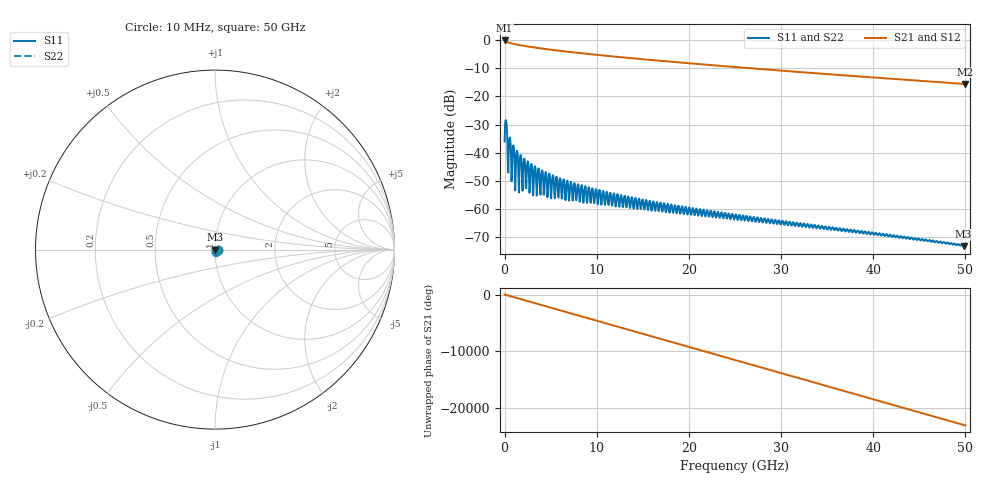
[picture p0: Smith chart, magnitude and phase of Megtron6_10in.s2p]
! Touchstone v1.0 generado por exportar_touchstone.py
! Linea de transmision dispersiva (skin + dielectrico)
# Hz S RI R 50
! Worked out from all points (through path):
!   1001 points, 10 MHz to 50 GHz, reference 50 ohm
!   highest |S21| = -0.14 dB at 10 MHz (marker M1); lowest = -15.6 dB at 50 GHz (marker M2)
!   group delay of S21, straight-line fit = 1.28 ns
!   lowest |S11| = -73.2 dB at 49.8 GHz (marker M3), VSWR 1.00, Z = 50 - j0.022 ohm
!   |S11| at or under -10 dB: start of sweep to end of sweep
!   |S22| runs from -73.2 to -28.4 dB; largest |S21 - S12| = 0
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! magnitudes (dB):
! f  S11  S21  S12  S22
! 10 MHz  -36.0  -0.1  -0.1  -36.0
! 359.9 MHz  -44.2  -0.8  -0.8  -44.2
! 609.9 MHz  -35.1  -1.0  -1.0  -35.1
! 759.9 MHz  -50.1  -1.2  -1.2  -50.1
! 959.8 MHz  -37.4  -1.3  -1.3  -37.4
! 1.16 GHz  -53.4  -1.5  -1.5  -53.4
! 1.36 GHz  -39.3  -1.6  -1.6  -39.3
! 1.56 GHz  -54.1  -1.7  -1.7  -54.1
! 1.76 GHz  -40.8  -1.9  -1.9  -40.8
! 1.96 GHz  -53.5  -2.0  -2.0  -53.5
! 2.16 GHz  -42.1  -2.1  -2.1  -42.1
! 2.31 GHz  -52.5  -2.2  -2.2  -52.5
! 3.309 GHz  -44.7  -2.7  -2.7  -44.7
! 3.509 GHz  -55.2  -2.8  -2.8  -55.2
! 3.709 GHz  -45.5  -2.9  -2.9  -45.5
! 8.358 GHz  -51.5  -4.7  -4.7  -51.5
! 16.71 GHz  -60.6  -7.3  -7.3  -60.6
! 25 GHz  -62.6  -9.6  -9.6  -62.6
! 33.35 GHz  -65.9  -11.7  -11.7  -65.9
! 41.7 GHz  -69.6  -13.7  -13.7  -69.6
! 49.8 GHz  -73.2  -15.5  -15.5  -73.2
! 50 GHz  -72.8  -15.6  -15.6  -72.8
